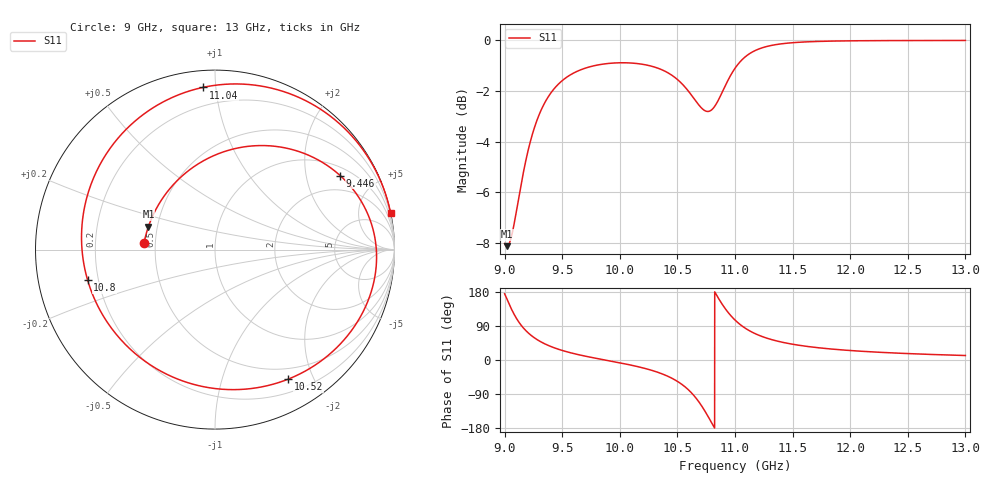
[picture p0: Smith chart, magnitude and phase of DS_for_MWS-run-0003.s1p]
! TOUCHSTONE file generated by CST DESIGN STUDIO
! Date and time: Tue Feb  4 14:36:59 2025
! Project name: C:\Work\MatlabApps\UnitCellOptimizationMatlab\CST\unitcell.cst
! Tree item: Tasks\Sweep1\SPara1\S-Parameters
! Header version: 2024
! Port assignment regex: !\s*Touchstone port\s*([0-9]+)\s*=\s*(CST MWS port|CST DES external port|CST DES block port)\s*(.+)\s* \(\"(.*)\"\)(\s*mode\s*([0-9]+))?.*
! Touchstone port assignment:
! Touchstone port 1 = CST DES external port 1 ("")
# GHz S MA R 50
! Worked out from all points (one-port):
!   4001 points, 9 GHz to 13 GHz, reference 50 ohm
!   lowest |S11| = -8.1 dB at 9.02 GHz (marker M1), VSWR 2.29, Z = 22.3 + j6.79 ohm
!   |S11| at or under -10 dB: nowhere
!   S11 on the Smith chart (normalised r, x): 9 GHz: 0.43, +0.04; 9.446 GHz: 1.32, +3.16; 10.52 GHz: 0.36, -1.66; 10.8 GHz: 0.16, -0.11; 11.04 GHz: 0.09, +0.92; 13 GHz: 0.01, +9.65
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9  0.3972 174.8
9.02  0.3924 160.9
9.104  0.4621 109.2
9.187  0.5831 76.7
9.311  0.7234 48.6
9.446  0.8105 30.5
9.5  0.8328 25.2
9.721  0.8845 8.8
10  0.9033 -7.5
10.3  0.8861 -29.4
10.409  0.8653 -41.9
10.5  0.8373 -56.4
10.521  0.829 -60.5
10.609  0.7868 -82.6
10.676  0.7506 -106.2
10.736  0.7271 -133.4
10.799  0.7299 -166.6
10.839  0.7503 171.9
10.88  0.7823 151.3
10.939  0.8341 126.0
11  0.8809 105.5
11.042  0.9062 94.2
11.134  0.9439 75.8
11.234  0.9666 62.1
11.5  0.9896 41.6
12  0.9981 25.0
12.5  0.9994 16.9
13  0.9998 11.8
